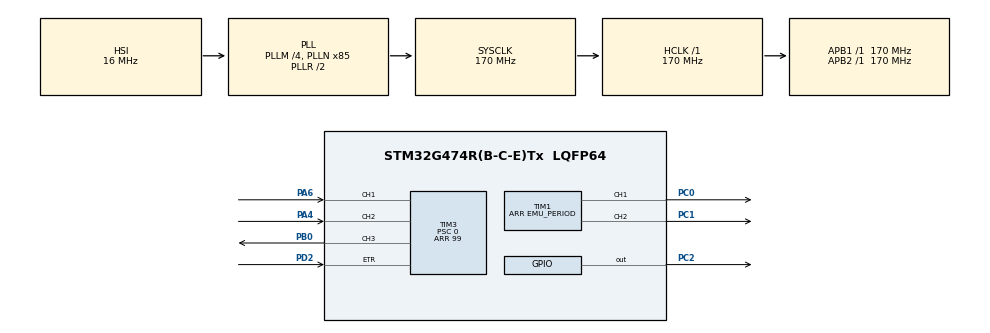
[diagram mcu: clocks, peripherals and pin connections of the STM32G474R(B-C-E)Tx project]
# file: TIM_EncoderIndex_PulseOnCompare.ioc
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Mcu.Family=STM32G4
Mcu.Name=STM32G474R(B-C-E)Tx
Mcu.Package=LQFP64
NVIC.PriorityGroup=NVIC_PRIORITYGROUP_4
NVIC.TIM1_UP_TIM16_IRQn=true\:0\:0\:false\:false\:true\:true\:true\:true
PA4.Signal=S_TIM3_CH2
PA6.Signal=S_TIM3_CH1
PB0.Signal=S_TIM3_CH3
PC0.Signal=S_TIM1_CH1
PC1.Signal=S_TIM1_CH2
PC2.Signal=GPIO_Output
PD2.Signal=S_TIM3_ETR
ProjectManager.HeapSize=0x200
ProjectManager.StackSize=0x400
ProjectManager.TargetToolchain=EWARM V8.32
RCC.ADC12Freq_Value=170000000
RCC.ADC345Freq_Value=170000000
RCC.AHBFreq_Value=170000000
RCC.APB1Freq_Value=170000000
RCC.APB1TimFreq_Value=170000000
RCC.APB2Freq_Value=170000000
RCC.APB2TimFreq_Value=170000000
RCC.CortexFreq_Value=170000000
RCC.EXTERNAL_CLOCK_VALUE=12288000
RCC.HCLKFreq_Value=170000000
RCC.HSE_VALUE=24000000
RCC.HSI48_VALUE=48000000
RCC.HSI_VALUE=16000000
RCC.LSE_VALUE=32768
RCC.PLLM=RCC_PLLM_DIV4
RCC.PLLN=85
RCC.SYSCLKFreq_VALUE=170000000
RCC.SYSCLKSource=RCC_SYSCLKSOURCE_PLLCLK
RCC.USBFreq_Value=170000000
RCC.VCOOutputFreq_Value=340000000
SH.S_TIM1_CH1.0=TIM1_CH1,Output Compare1 CH1
SH.S_TIM1_CH2.0=TIM1_CH2,Output Compare2 CH2
SH.S_TIM3_CH1.0=TIM3_CH1,Encoder_Interface_w_index
SH.S_TIM3_CH2.0=TIM3_CH2,Encoder_Interface_w_index
SH.S_TIM3_CH3.0=TIM3_CH3,Output Compare3 CH3
SH.S_TIM3_ETR.0=TIM3_ETR,Encoder_Interface_w_index
TIM1.AutoReloadPreload=TIM_AUTORELOAD_PRELOAD_DISABLE
TIM1.AutomaticOutput=TIM_AUTOMATICOUTPUT_DISABLE
TIM1.Break2Filter=0
TIM1.Break2Polarity=TIM_BREAK2POLARITY_HIGH
TIM1.Break2State=TIM_BREAK2_DISABLE
TIM1.BreakFilter=0
TIM1.BreakPolarity=TIM_BREAKPOLARITY_HIGH
TIM1.BreakState=TIM_BREAK_DISABLE
TIM1.Channel-Output\ Compare1\ CH1=TIM_CHANNEL_1
TIM1.Channel-Output\ Compare2\ CH2=TIM_CHANNEL_2
TIM1.ClearInputSource=TIM_CLEARINPUTSOURCE_NONE
TIM1.ClockDivision=TIM_CLOCKDIVISION_DIV1
TIM1.CounterMode=TIM_COUNTERMODE_UP
TIM1.Dithering=Disable
TIM1.LockLevel=TIM_LOCKLEVEL_OFF
TIM1.OCIdleState_1=TIM_OCIDLESTATE_RESET
TIM1.OCIdleState_2=TIM_OCIDLESTATE_RESET
TIM1.OCMode_1=TIM_OCMODE_TOGGLE
TIM1.OCMode_2=TIM_OCMODE_TOGGLE
TIM1.OCPolarity_1=TIM_OCPOLARITY_HIGH
TIM1.OCPolarity_2=TIM_OCPOLARITY_HIGH
TIM1.OffStateIDLEMode=TIM_OSSI_DISABLE
TIM1.OffStateRunMode=TIM_OSSR_DISABLE
TIM1.PeriodNoDither=EMU_PERIOD
TIM1.Prescaler=EMU_PRESCALER
TIM1.PulseNoDither_1=PULSE1_VALUE
TIM1.PulseNoDither_2=PULSE2_VALUE
TIM1.RepetitionCounter=30
TIM1.SourceBRK2COMP1=TIM_BREAKINPUTSOURCE_DISABLE
TIM1.SourceBRK2COMP2=TIM_BREAKINPUTSOURCE_DISABLE
TIM1.SourceBRK2COMP3=TIM_BREAKINPUTSOURCE_DISABLE
TIM1.SourceBRK2COMP4=TIM_BREAKINPUTSOURCE_DISABLE
TIM1.SourceBRK2COMP5=TIM_BREAKINPUTSOURCE_DISABLE
TIM1.SourceBRK2COMP6=TIM_BREAKINPUTSOURCE_DISABLE
TIM1.SourceBRK2COMP7=TIM_BREAKINPUTSOURCE_DISABLE
TIM1.SourceBRK2DigInput=TIM_BREAKINPUTSOURCE_DISABLE
TIM1.SourceBRKCOMP1=TIM_BREAKINPUTSOURCE_DISABLE
TIM1.SourceBRKCOMP2=TIM_BREAKINPUTSOURCE_DISABLE
TIM1.SourceBRKCOMP3=TIM_BREAKINPUTSOURCE_DISABLE
TIM1.SourceBRKCOMP4=TIM_BREAKINPUTSOURCE_DISABLE
TIM1.SourceBRKCOMP5=TIM_BREAKINPUTSOURCE_DISABLE
TIM1.SourceBRKCOMP6=TIM_BREAKINPUTSOURCE_DISABLE
TIM1.SourceBRKCOMP7=TIM_BREAKINPUTSOURCE_DISABLE
TIM1.SourceBRKDigInput=TIM_BREAKINPUTSOURCE_DISABLE
TIM1.TIM_MasterOutputTrigger=TIM_TRGO_RESET
TIM1.TIM_MasterOutputTrigger2=TIM_TRGO2_RESET
TIM1.TIM_MasterSlaveMode=TIM_MASTERSLAVEMODE_DISABLE
TIM3.AutoReloadPreload=TIM_AUTORELOAD_PRELOAD_DISABLE
TIM3.Channel-Output\ Compare3\ CH3=TIM_CHANNEL_3
TIM3.ClearInputSource=TIM_CLEARINPUTSOURCE_NONE
TIM3.ClockDivision=TIM_CLOCKDIVISION_DIV1
TIM3.CounterMode=TIM_COUNTERMODE_UP
TIM3.Dithering=Disable
TIM3.EncoderMode=TIM_ENCODERMODE_TI12
TIM3.FirstIndexEnable=DISABLE
TIM3.IC1Filter=0
TIM3.IC1Polarity=TIM_ICPOLARITY_RISING
TIM3.IC1Prescaler=TIM_ICPSC_DIV1
TIM3.IC1Selection=TIM_ICSELECTION_DIRECTTI
TIM3.IC2Filter=0
TIM3.IC2Polarity=TIM_ICPOLARITY_RISING
TIM3.IC2Prescaler=TIM_ICPSC_DIV1
TIM3.IC2Selection=TIM_ICSELECTION_DIRECTTI
TIM3.IndexDirection=TIM_ENCODERINDEX_DIRECTION_UP_DOWN
TIM3.IndexFilter=0
TIM3.IndexPolarity=TIM_ENCODERINDEX_POLARITY_NONINVERTED
TIM3.IndexPosition=TIM_ENCODERINDEX_POSITION_00
TIM3.IndexPrescaler=TIM_ENCODERINDEX_PRESCALER_DIV1
TIM3.OCMode_3=TIM_OCMODE_PULSE_ON_COMPARE
TIM3.OCPolarity_3=TIM_OCPOLARITY_HIGH
TIM3.PeriodNoDither=99
TIM3.Prescaler=0
TIM3.PulseNoDither_3=70
TIM3.PulseWidth=0xFF
TIM3.PulseWidthPrescaler=7
TIM3.SMS_Preload_Activation=DISABLE
TIM3.TIM_MasterOutputTrigger=TIM_TRGO_RESET
TIM3.TIM_MasterSlaveMode=TIM_MASTERSLAVEMODE_DISABLE
VP_SYS_VS_DBSignals.Mode=DisableDeadBatterySignals
board=custom

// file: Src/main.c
/* USER CODE BEGIN Header */
/**
  ******************************************************************************
  * @file    TIM/TIM_EncoderIndex_PulseOnCompare/Src/main.c
  * @author  MCD Application Team
  * @brief   This sample code shows how to configure the FDCAN peripheral to
  *          send and receive Classic CAN frames
  ******************************************************************************
  * @attention
  *
  * Copyright (c) 2019 STMicroelectronics.
  * All rights reserved.
  *
  * This software is licensed under terms that can be found in the LICENSE file
  * in the root directory of this software component.
  * If no LICENSE file comes with this software, it is provided AS-IS.
  *
  ******************************************************************************
  */
/* USER CODE END Header */
#include "main.h"

/* USER CODE BEGIN Includes */

#include "stm32g4xx_nucleo.h"

/* USER CODE END Includes */

TIM_HandleTypeDef htim1;
TIM_HandleTypeDef htim3;

/* USER CODE BEGIN PV */
/* Private variables ---------------------------------------------------------*/
/* At startup index emulation is deactivated */
uint32_t IndexEmulation = 0;
uint32_t IndexEmulation_trigger = 0;
TIM_OC_InitTypeDef sEmulConfigOC;
TIM_OC_InitTypeDef sPulseOnCompareConfigOC;

/* USER CODE END PV */

void SystemClock_Config(void);
static void MX_GPIO_Init(void);
static void MX_TIM1_Init(void);
static void MX_TIM3_Init(void);

int main(void)
{

  /* MCU Configuration--------------------------------------------------------*/

  /* Reset of all peripherals, Initializes the Flash interface and the Systick. */
  HAL_Init();

  /* Configure the system clock */
  SystemClock_Config();

  /* Initialize all configured peripherals */
  MX_GPIO_Init();
  MX_TIM1_Init();
  MX_TIM3_Init();
  /* USER CODE BEGIN 2 */

  /* Configure User push-button in Interrupt mode */
  BSP_PB_Init(BUTTON_USER, BUTTON_MODE_EXTI);

  /*## -2- Start signals generation ######################################### */
  if(HAL_TIM_OC_Start(&htim1, TIM_CHANNEL_1) != HAL_OK)
  {
    /* Starting Error */
    Error_Handler();
  }
  if(HAL_TIM_OC_Start(&htim1, TIM_CHANNEL_2) != HAL_OK)
  {
    /* Starting Error */
    Error_Handler();
  }

  /*## -3- Start timebase for Index generation ############################## */
  if(HAL_TIM_Base_Start_IT(&htim1) != HAL_OK)
  {
    /* Starting Error */
    Error_Handler();
  }

  /************************************************/
  /*    Start encoder interface                   */
  /************************************************/
  HAL_TIM_Encoder_Start(&htim3, TIM_CHANNEL_ALL);

  /************************************************/
  /*    Start pulse on compare                    */
  /************************************************/

  if(HAL_TIMEx_OC_ConfigPulseOnCompare(&htim3, 7, 0xFF) != HAL_OK)
  {
    /* Starting Error */
    Error_Handler();
  }

  if(HAL_TIM_OC_Start(&htim3, TIM_CHANNEL_3) != HAL_OK)
  {
    /* Starting Error */
    Error_Handler();
  }

  /* USER CODE END 2 */

  /* Infinite loop */
  while (1)
  {

    /* USER CODE BEGIN 3 */

  /* Emulate index pulse */
  if(IndexEmulation_trigger == 1)
    {
      /* Generate Index signal */
      HAL_GPIO_WritePin(GPIOC, GPIO_PIN_2, GPIO_PIN_SET);
      HAL_Delay(4);
      HAL_GPIO_WritePin(GPIOC, GPIO_PIN_2, GPIO_PIN_RESET);
      IndexEmulation_trigger = 0;
    }
  }
  /* USER CODE END 3 */
}

void SystemClock_Config(void)
{
  RCC_OscInitTypeDef RCC_OscInitStruct = {0};
  RCC_ClkInitTypeDef RCC_ClkInitStruct = {0};

  /** Configure the main internal regulator output voltage
  */
  HAL_PWREx_ControlVoltageScaling(PWR_REGULATOR_VOLTAGE_SCALE1_BOOST);

  /** Initializes the RCC Oscillators according to the specified parameters
  * in the RCC_OscInitTypeDef structure.
  */
  RCC_OscInitStruct.OscillatorType = RCC_OSCILLATORTYPE_HSI;
  RCC_OscInitStruct.HSIState = RCC_HSI_ON;
  RCC_OscInitStruct.HSICalibrationValue = RCC_HSICALIBRATION_DEFAULT;
  RCC_OscInitStruct.PLL.PLLState = RCC_PLL_ON;
  RCC_OscInitStruct.PLL.PLLSource = RCC_PLLSOURCE_HSI;
  RCC_OscInitStruct.PLL.PLLM = RCC_PLLM_DIV4;
  RCC_OscInitStruct.PLL.PLLN = 85;
  RCC_OscInitStruct.PLL.PLLP = RCC_PLLP_DIV2;
  RCC_OscInitStruct.PLL.PLLQ = RCC_PLLQ_DIV2;
  RCC_OscInitStruct.PLL.PLLR = RCC_PLLR_DIV2;
  if (HAL_RCC_OscConfig(&RCC_OscInitStruct) != HAL_OK)
  {
    Error_Handler();
  }

  /** Initializes the CPU, AHB and APB buses clocks
  */
  RCC_ClkInitStruct.ClockType = RCC_CLOCKTYPE_HCLK|RCC_CLOCKTYPE_SYSCLK
                              |RCC_CLOCKTYPE_PCLK1|RCC_CLOCKTYPE_PCLK2;
  RCC_ClkInitStruct.SYSCLKSource = RCC_SYSCLKSOURCE_PLLCLK;
  RCC_ClkInitStruct.AHBCLKDivider = RCC_SYSCLK_DIV1;
  RCC_ClkInitStruct.APB1CLKDivider = RCC_HCLK_DIV1;
  RCC_ClkInitStruct.APB2CLKDivider = RCC_HCLK_DIV1;

  if (HAL_RCC_ClockConfig(&RCC_ClkInitStruct, FLASH_LATENCY_4) != HAL_OK)
  {
    Error_Handler();
  }
}

static void MX_TIM1_Init(void)
{

  TIM_MasterConfigTypeDef sMasterConfig = {0};
  TIM_OC_InitTypeDef sConfigOC = {0};
  TIM_BreakDeadTimeConfigTypeDef sBreakDeadTimeConfig = {0};

  htim1.Instance = TIM1;
  htim1.Init.Prescaler = EMU_PRESCALER;
  htim1.Init.CounterMode = TIM_COUNTERMODE_UP;
  htim1.Init.Period = EMU_PERIOD;
  htim1.Init.ClockDivision = TIM_CLOCKDIVISION_DIV1;
  htim1.Init.RepetitionCounter = 30;
  htim1.Init.AutoReloadPreload = TIM_AUTORELOAD_PRELOAD_DISABLE;
  if (HAL_TIM_OC_Init(&htim1) != HAL_OK)
  {
    Error_Handler();
  }
  sMasterConfig.MasterOutputTrigger = TIM_TRGO_RESET;
  sMasterConfig.MasterOutputTrigger2 = TIM_TRGO2_RESET;
  sMasterConfig.MasterSlaveMode = TIM_MASTERSLAVEMODE_DISABLE;
  if (HAL_TIMEx_MasterConfigSynchronization(&htim1, &sMasterConfig) != HAL_OK)
  {
    Error_Handler();
  }
  sConfigOC.OCMode = TIM_OCMODE_TOGGLE;
  sConfigOC.Pulse = PULSE1_VALUE;
  sConfigOC.OCPolarity = TIM_OCPOLARITY_HIGH;
  sConfigOC.OCNPolarity = TIM_OCNPOLARITY_HIGH;
  sConfigOC.OCFastMode = TIM_OCFAST_DISABLE;
  sConfigOC.OCIdleState = TIM_OCIDLESTATE_RESET;
  sConfigOC.OCNIdleState = TIM_OCNIDLESTATE_RESET;
  if (HAL_TIM_OC_ConfigChannel(&htim1, &sConfigOC, TIM_CHANNEL_1) != HAL_OK)
  {
    Error_Handler();
  }
  sConfigOC.Pulse = PULSE2_VALUE;
  if (HAL_TIM_OC_ConfigChannel(&htim1, &sConfigOC, TIM_CHANNEL_2) != HAL_OK)
  {
    Error_Handler();
  }
  sBreakDeadTimeConfig.OffStateRunMode = TIM_OSSR_DISABLE;
  sBreakDeadTimeConfig.OffStateIDLEMode = TIM_OSSI_DISABLE;
  sBreakDeadTimeConfig.LockLevel = TIM_LOCKLEVEL_OFF;
  sBreakDeadTimeConfig.DeadTime = 0;
  sBreakDeadTimeConfig.BreakState = TIM_BREAK_DISABLE;
  sBreakDeadTimeConfig.BreakPolarity = TIM_BREAKPOLARITY_HIGH;
  sBreakDeadTimeConfig.BreakFilter = 0;
  sBreakDeadTimeConfig.BreakAFMode = TIM_BREAK_AFMODE_INPUT;
  sBreakDeadTimeConfig.Break2State = TIM_BREAK2_DISABLE;
  sBreakDeadTimeConfig.Break2Polarity = TIM_BREAK2POLARITY_HIGH;
  sBreakDeadTimeConfig.Break2Filter = 0;
  sBreakDeadTimeConfig.Break2AFMode = TIM_BREAK_AFMODE_INPUT;
  sBreakDeadTimeConfig.AutomaticOutput = TIM_AUTOMATICOUTPUT_DISABLE;
  if (HAL_TIMEx_ConfigBreakDeadTime(&htim1, &sBreakDeadTimeConfig) != HAL_OK)
  {
    Error_Handler();
  }
  HAL_TIM_MspPostInit(&htim1);

}

static void MX_TIM3_Init(void)
{

  TIM_Encoder_InitTypeDef sConfig = {0};
  TIM_MasterConfigTypeDef sMasterConfig = {0};
  TIM_OC_InitTypeDef sConfigOC = {0};
  TIMEx_EncoderIndexConfigTypeDef sEncoderIndexConfig = {0};

  htim3.Instance = TIM3;
  htim3.Init.Prescaler = 0;
  htim3.Init.CounterMode = TIM_COUNTERMODE_UP;
  htim3.Init.Period = 99;
  htim3.Init.ClockDivision = TIM_CLOCKDIVISION_DIV1;
  htim3.Init.AutoReloadPreload = TIM_AUTORELOAD_PRELOAD_DISABLE;
  if (HAL_TIM_OC_Init(&htim3) != HAL_OK)
  {
    Error_Handler();
  }
  sConfig.EncoderMode = TIM_ENCODERMODE_TI12;
  sConfig.IC1Polarity = TIM_ICPOLARITY_RISING;
  sConfig.IC1Selection = TIM_ICSELECTION_DIRECTTI;
  sConfig.IC1Prescaler = TIM_ICPSC_DIV1;
  sConfig.IC1Filter = 0;
  sConfig.IC2Polarity = TIM_ICPOLARITY_RISING;
  sConfig.IC2Selection = TIM_ICSELECTION_DIRECTTI;
  sConfig.IC2Prescaler = TIM_ICPSC_DIV1;
  sConfig.IC2Filter = 0;
  if (HAL_TIM_Encoder_Init(&htim3, &sConfig) != HAL_OK)
  {
    Error_Handler();
  }
  sMasterConfig.MasterOutputTrigger = TIM_TRGO_RESET;
  sMasterConfig.MasterSlaveMode = TIM_MASTERSLAVEMODE_DISABLE;
  if (HAL_TIMEx_MasterConfigSynchronization(&htim3, &sMasterConfig) != HAL_OK)
  {
    Error_Handler();
  }
  sConfigOC.OCMode = TIM_OCMODE_PULSE_ON_COMPARE;
  sConfigOC.Pulse = 70;
  sConfigOC.OCPolarity = TIM_OCPOLARITY_HIGH;
  sConfigOC.OCFastMode = TIM_OCFAST_DISABLE;
  if (HAL_TIM_OC_ConfigChannel(&htim3, &sConfigOC, TIM_CHANNEL_3) != HAL_OK)
  {
    Error_Handler();
  }
  HAL_TIMEx_OC_ConfigPulseOnCompare(&htim3, 7, 0xFF);
  sEncoderIndexConfig.Polarity = TIM_ENCODERINDEX_POLARITY_NONINVERTED;
  sEncoderIndexConfig.Prescaler = TIM_ENCODERINDEX_PRESCALER_DIV1;
  sEncoderIndexConfig.Filter = 0;
  sEncoderIndexConfig.FirstIndexEnable = DISABLE;
  sEncoderIndexConfig.Position = TIM_ENCODERINDEX_POSITION_00;
  sEncoderIndexConfig.Direction = TIM_ENCODERINDEX_DIRECTION_UP_DOWN;
  if (HAL_TIMEx_ConfigEncoderIndex(&htim3, &sEncoderIndexConfig) != HAL_OK)
  {
    Error_Handler();
  }
  HAL_TIM_MspPostInit(&htim3);

}

static void MX_GPIO_Init(void)
{
  GPIO_InitTypeDef GPIO_InitStruct = {0};

  /* GPIO Ports Clock Enable */
  __HAL_RCC_GPIOC_CLK_ENABLE();
  __HAL_RCC_GPIOA_CLK_ENABLE();
  __HAL_RCC_GPIOB_CLK_ENABLE();
  __HAL_RCC_GPIOD_CLK_ENABLE();

  /*Configure GPIO pin Output Level */
  HAL_GPIO_WritePin(GPIOC, GPIO_PIN_2, GPIO_PIN_RESET);

  /*Configure GPIO pin : PC2 */
  GPIO_InitStruct.Pin = GPIO_PIN_2;
  GPIO_InitStruct.Mode = GPIO_MODE_OUTPUT_PP;
  GPIO_InitStruct.Pull = GPIO_NOPULL;
  GPIO_InitStruct.Speed = GPIO_SPEED_FREQ_LOW;
  HAL_GPIO_Init(GPIOC, &GPIO_InitStruct);

}

/* USER CODE BEGIN 4 */

/******************************************************************************/
/*   USER IRQ HANDLER TREATMENT                                               */
/******************************************************************************/

/**
  * @brief EXTI line detection callbacks
  * @param GPIO_Pin: Specifies the pins connected EXTI line
  * @retval None
  */
void HAL_GPIO_EXTI_Callback(uint16_t GPIO_Pin)
{
  if (IndexEmulation == 0)
    {
      IndexEmulation = 1;
    }
  else
    {
      IndexEmulation = 0;
    }
}

/**
  * @brief  Period elapsed callback in non blocking mode
  * @param  htim : TIM handle
  * @retval None
  */
void HAL_TIM_PeriodElapsedCallback(TIM_HandleTypeDef *htim)
{
  if(IndexEmulation == 1)
    {
      /* Trig index emulation  */
      IndexEmulation_trigger = 1;
    }
}

/* USER CODE END 4 */

void Error_Handler(void)
{
  while(1)
  {
  }
}
